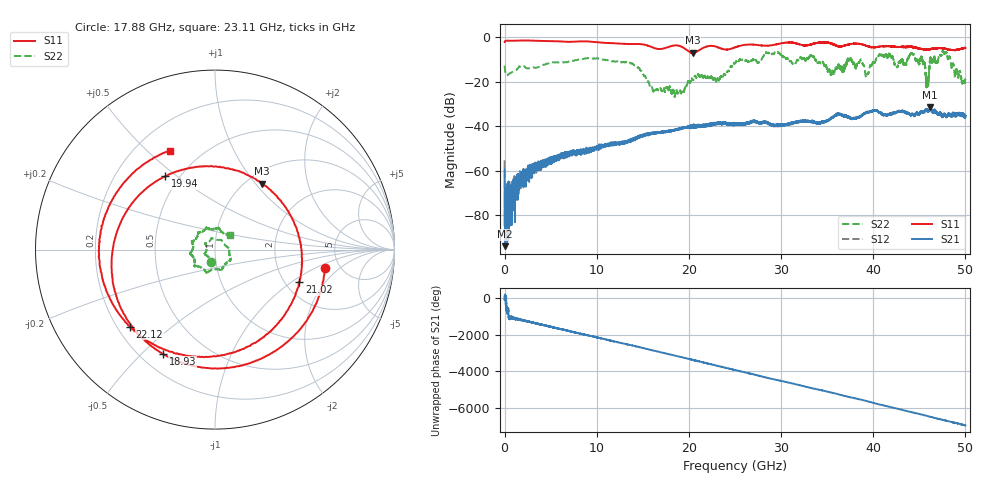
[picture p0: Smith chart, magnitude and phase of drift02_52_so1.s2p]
!Created with skrf (http://scikit-rf.org).
# Hz S RI R 50.0
!freq ReS11 ImS11 ReS21 ImS21 ReS12 ImS12 ReS22 ImS22
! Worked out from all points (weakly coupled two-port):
!   10001 points, 300 kHz to 50 GHz, reference 50 ohm
!   highest |S21| = -31.52 dB at 46.17 GHz (marker M1); lowest = -94.1 dB at 55.3 MHz (marker M2)
!   lowest |S11| = -6.9 dB at 20.44 GHz (marker M3), VSWR 2.64, Z = 58.7 + j54.1 ohm
!   |S11| at or under -10 dB: nowhere
!   |S22| runs from -26.8 to -6.0 dB; largest |S21 - S12| = 0.0031
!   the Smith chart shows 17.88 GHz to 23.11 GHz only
!   S11 on the Smith chart (normalised r, x): 17.88 GHz: 3.84, -1.25; 18.93 GHz: 0.29, -0.58; 19.94 GHz: 0.42, +0.45; 21.02 GHz: 2.37, -1.16; 22.12 GHz: 0.25, -0.36; 23.11 GHz: 0.34, +0.59
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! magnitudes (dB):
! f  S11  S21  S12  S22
! 300 kHz  -2.0  -59.0  -55.4  -12.7
! 55.3 MHz  -1.6  -94.1  -76.4  -15.1
! 255.3 MHz  -1.4  -77.6  -78.8  -17.0
! 3.28 GHz  -1.5  -59.3  -58.2  -13.6
! 8.335 GHz  -1.7  -51.3  -51.7  -9.7
! 13.71 GHz  -2.9  -46.7  -46.2  -11.7
! 16.67 GHz  -5.2  -42.8  -42.9  -23.6
! 17.88 GHz  -4.1  -42.3  -42.2  -22.5
! 18.93 GHz  -3.7  -41.1  -41.4  -23.5
! 19.94 GHz  -6.1  -40.3  -40.3  -19.7
! 20.44 GHz  -6.9  -40.0  -40.0  -19.2
! 21.02 GHz  -6.0  -39.8  -39.4  -16.9
! 22.12 GHz  -3.9  -39.9  -39.5  -17.4
! 23.11 GHz  -4.4  -38.6  -38.9  -18.6
! 25 GHz  -4.5  -39.4  -39.1  -11.6
! 33.34 GHz  -3.0  -37.8  -38.0  -8.4
! 39.33 GHz  -3.8  -33.8  -33.7  -16.6
! 41.67 GHz  -3.9  -34.9  -34.8  -7.7
! 45.87 GHz  -5.4  -33.2  -33.2  -20.1
! 46.17 GHz  -5.3  -31.5  -31.8  -9.5
! 47.74 GHz  -5.0  -34.6  -34.6  -7.1
! 50 GHz  -4.7  -35.2  -35.9  -18.8
